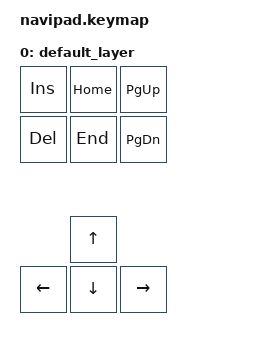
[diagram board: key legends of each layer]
#include <behaviors.dtsi>
#include <dt-bindings/zmk/keys.h>

/ {
  keymap {
    compatible = "zmk,keymap";

    default_layer {
      bindings = <&kp INS &kp HOME &kp PG_UP
                  &kp DEL &kp END &kp PG_DN
                  &kp UP
                  &kp LEFT &kp DOWN &kp RIGHT>;
    };
  };
};
